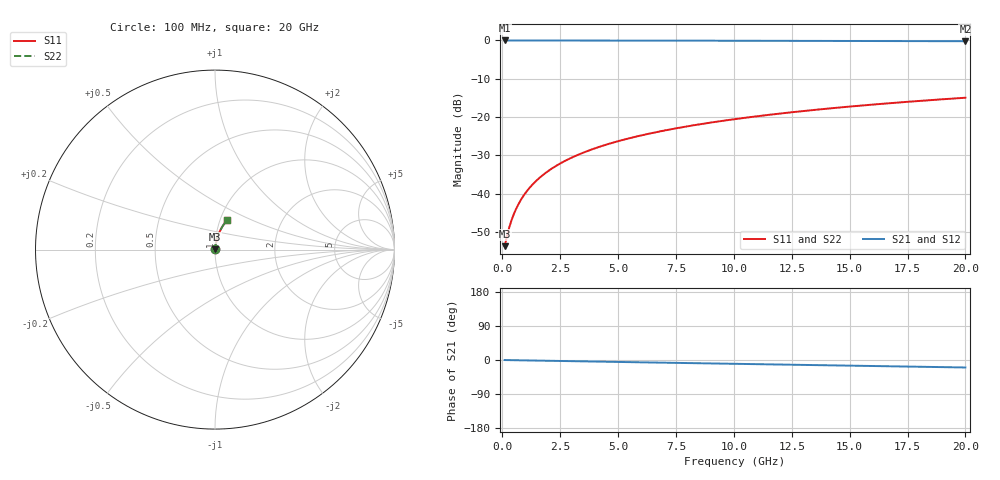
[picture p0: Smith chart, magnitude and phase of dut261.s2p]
! Touchstone file exported from HFSS 2026.1.0
!  File:  C:/ffzhzh/LocalFiles/Ansys_Project_Files/temp_train_BSMRDL_261_1782988758_41620.aedt
!  Generated:  06:40:27 PM Jul  2, 2026
!  Design:  BSMRDL
!  Project:  temp_train_BSMRDL_261_1782988758_41620
! Variables:
!  h_bsmrdl = 5.87um
!  h_ox = 20um
!  h_rdl = 5um
!  h_sub = 80um
!  h_tmrdl = 5um
!  h_tsv = 80um
!  h_via = 3um
!  l_bsmrdl = 293.94um
!  l_sub = 693.94um
!  l_tmrdl = 200um
!  m_sub = 200um
!  pitch = 26.59um
!  r_tsv = 6um
!  s_tmrdl = 10um
!  w_bsmrdl = 10.36um
!  w_sub = 500um
!  w_tmrdl = 12um
!  x_tsv_center1 = 206um
!  x_tsv_center2 = 510.3um
!  x_tsv_center3 = 722.3um
!  x_tsv_center4 = 1026.6um
!  x_tsv_center5 = 1238.6um
!  x_tsv_center6 = 1542.9um
# GHz S MA R 50.000000
! Terminal data exported
! Port[1] = BSM_RDL1_1_T1
! Port[2] = BSM_RDL1_1_T2
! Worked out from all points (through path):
!   200 points, 100 MHz to 20 GHz, reference 50 ohm
!   highest |S21| = -0.02 dB at 100 MHz (marker M1); lowest = -0.2 dB at 20 GHz (marker M2)
!   group delay of S21, straight-line fit = 2.73 ps
!   lowest |S11| = -53.6 dB at 100 MHz (marker M3), VSWR 1.00, Z = 50.2 + j0.107 ohm
!   |S11| at or under -10 dB: start of sweep to end of sweep
!   |S22| runs from -53.6 to -14.9 dB; largest |S21 - S12| = 5.3e-15
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0.1  0.002081 30.8  0.9982 -0.1  0.9982 -0.1  0.002081 30.8
! Gamma 0 0 0 0
! Port Impedance 50 0 50 0
0.2  0.002796 48.7  0.9982 -0.2  0.9982 -0.2  0.002796 48.7
0.3  0.003647 58.5  0.9981 -0.3  0.9981 -0.3  0.003647 58.5
0.4  0.004547 64.4  0.9981 -0.4  0.9981 -0.4  0.004547 64.4
0.5  0.005472 68.4  0.998 -0.5  0.998 -0.5  0.005472 68.4
0.6  0.006412 71.2  0.998 -0.6  0.998 -0.6  0.006412 71.2
0.8  0.008323 74.9  0.9979 -0.8  0.9979 -0.8  0.008323 74.9
1  0.01026 77.1  0.9978 -1.0  0.9978 -1.0  0.01026 77.1
1.2  0.01221 78.6  0.9978 -1.3  0.9978 -1.3  0.01221 78.6
1.4  0.01416 79.5  0.9977 -1.5  0.9977 -1.5  0.01416 79.5
1.7  0.01709 80.4  0.9975 -1.8  0.9975 -1.8  0.01709 80.4
2.2  0.02196 81.1  0.9972 -2.3  0.9972 -2.3  0.02196 81.1
2.8  0.02777 81.4  0.9968 -2.9  0.9968 -2.9  0.02777 81.4
3.5  0.03447 81.2  0.9963 -3.6  0.9963 -3.6  0.03447 81.2
4.2  0.04109 80.8  0.9957 -4.3  0.9957 -4.3  0.04109 80.8
5  0.04857 80.3  0.9949 -5.1  0.9949 -5.1  0.04857 80.3
6.8  0.0651 78.9  0.9932 -6.9  0.9932 -6.9  0.0651 78.9
8.3  0.07864 77.7  0.9916 -8.4  0.9916 -8.4  0.07864 77.7
10.1  0.09468 76.2  0.9896 -10.2  0.9896 -10.2  0.09468 76.2
13.4  0.1235 73.4  0.9855 -13.4  0.9855 -13.4  0.1235 73.4
16.7  0.1517 70.5  0.9808 -16.6  0.9808 -16.6  0.1517 70.5
20  0.179 67.6  0.9756 -19.7  0.9756 -19.7  0.179 67.6
